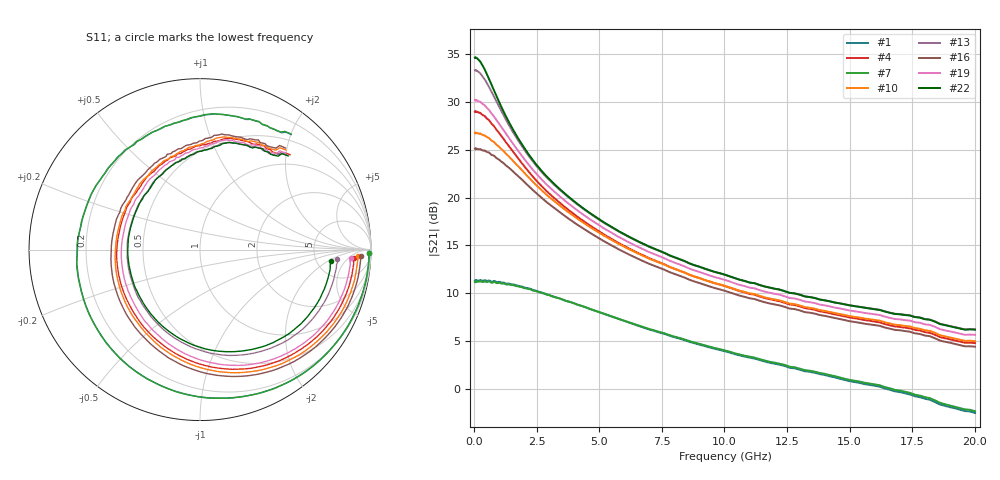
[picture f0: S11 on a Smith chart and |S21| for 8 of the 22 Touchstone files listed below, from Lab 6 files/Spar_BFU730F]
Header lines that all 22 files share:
! Device data file deembeded for feedlines and parallel
! Feed-files: PR003V01_101208_Feed1.s2p, PR003V01_101208_Feed2.s2p
! Parallel-file: PR003V01_101208_Par.s2p
# MHz S MA R 50
!  Freq-MHz  S11-mag  S11-arg  S21-mag  S21-arg  S12-mag  S12-arg  S22-mag  S22-arg
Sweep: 40 MHz to 20 GHz
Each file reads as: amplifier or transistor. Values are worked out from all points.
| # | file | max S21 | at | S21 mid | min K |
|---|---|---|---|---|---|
| 1 | BFU730F_1p5_V1mA.s2p | 11.4 dB | 240 MHz | 8.7 dB at 4.2 GHz | -0.01 |
| 2 | BFU730F_1p5V_10mA.s2p | 29.0 dB | 50 MHz | 18.1 dB at 4.2 GHz | -0.13 |
| 3 | BFU730F_1V_2mA.s2p | 16.4 dB | 240 MHz | 12.3 dB at 4.2 GHz | -0.07 |
| 4 | BFU730F_1V_10mA.s2p | 29.1 dB | 50 MHz | 17.9 dB at 4.2 GHz | -0.04 |
| 5 | BFU730F_1V_15mA.s2p | 31.8 dB | 50 MHz | 18.4 dB at 4.2 GHz | -0.03 |
| 6 | BFU730F_1V_20mA.s2p | 33.0 dB | 40 MHz | 18.6 dB at 4.2 GHz | 0.05 |
| 7 | BFU730F_2p5V_1mA.s2p | 11.3 dB | 240 MHz | 8.7 dB at 4.2 GHz | -0.12 |
| 8 | BFU730F_2p5V_3p5mA.s2p | 20.8 dB | 50 MHz | 15.1 dB at 4.2 GHz | 0.02 |
| 9 | BFU730F_2p5V_5mA.s2p | 23.7 dB | 50 MHz | 16.5 dB at 4.2 GHz | 0.04 |
| 10 | BFU730F_2p5V_7p5mA.s2p | 26.8 dB | 50 MHz | 17.7 dB at 4.2 GHz | 0.05 |
| 11 | BFU730F_2p5V_10mA.s2p | 28.9 dB | 50 MHz | 18.3 dB at 4.2 GHz | 0.07 |
| 12 | BFU730F_2p5V_15mA.s2p | 31.7 dB | 50 MHz | 18.9 dB at 4.2 GHz | 0.03 |
| 13 | BFU730F_2p5V_20mA.s2p | 33.4 dB | 50 MHz | 19.1 dB at 4.2 GHz | 0.08 |
| 14 | BFU730F_2V_2mA_S_N.s2p | 16.3 dB | 50 MHz | 12.4 dB at 4.2 GHz | -0.19 |
| 15 | BFU730F_2V_3mA_S_N.s2p | 19.7 dB | 50 MHz | 14.5 dB at 4.2 GHz | -0.06 |
| 16 | BFU730F_2V_6mA_S_N.s2p | 25.2 dB | 50 MHz | 17.0 dB at 4.2 GHz | 0.01 |
| 17 | BFU730F_2V_9mA_S_N.s2p | 28.2 dB | 50 MHz | 18.0 dB at 4.2 GHz | 0.02 |
| 18 | BFU730F_2V_10mA_S_N.s2p | 29.0 dB | 50 MHz | 18.2 dB at 4.2 GHz | -0.05 |
| 19 | BFU730F_2V_12mA_S_N.s2p | 30.2 dB | 50 MHz | 18.5 dB at 4.2 GHz | -0.15 |
| 20 | BFU730F_2V_15mA_S_N.s2p | 31.7 dB | 50 MHz | 18.8 dB at 4.2 GHz | -0.10 |
| 21 | BFU730F_2V_20mA_S_N.s2p | 33.5 dB | 50 MHz | 19.1 dB at 4.2 GHz | -0.12 |
| 22 | BFU730F_2V_25mA_S_N.s2p | 34.7 dB | 50 MHz | 19.2 dB at 4.2 GHz | -0.01 |
